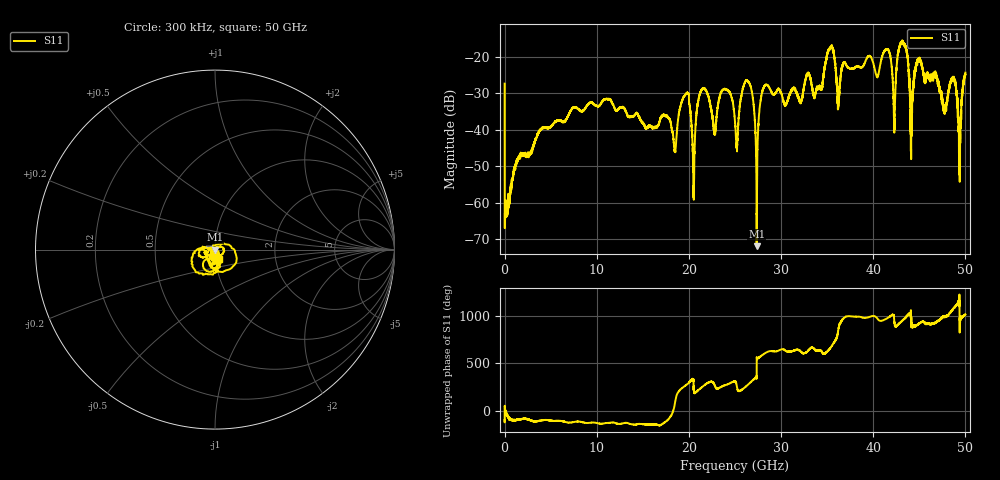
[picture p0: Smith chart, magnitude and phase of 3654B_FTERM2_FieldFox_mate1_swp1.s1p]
!Created with skrf (http://scikit-rf.org).
# Hz S RI R 50.0
!freq ReS11 ImS11
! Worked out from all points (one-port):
!   10001 points, 300 kHz to 50 GHz, reference 50 ohm
!   lowest |S11| = -72.0 dB at 27.35 GHz (marker M1), VSWR 1.00, Z = 50 - j0.00934 ohm
!   |S11| at or under -10 dB: start of sweep to end of sweep
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300000  -0.0059 -0.0425
2.552985e8  0.000629 -0.000454
1.560291e9  -0.000181 -0.00439
6.250262e9  -0.00425 -0.0124
1.250022e10  -0.0152 -0.0134
1.875019e10  -0.0115 -0.000429
1.975518e10  0.00291 -0.0318
2.053018e10  -0.000922 -0.000589
2.159017e10  -0.00502 -0.0365
2.500015e10  0.00768 -0.00996
2.640514e10  0.00322 -0.0461
2.735014e10  0.000234 -9.34e-05
2.820013e10  -0.0193 -0.0355
3.125011e10  -7.64e-05 -0.0361
3.427009e10  0.00397 -0.0388
3.536009e10  0.0699 -0.1149
3.620008e10  -0.0146 0.018
3.750008e10  0.00594 -0.0683
4.151005e10  -0.0369 -0.1221
4.227505e10  -0.00464 -0.0105
4.297504e10  -0.1278 -0.0819
4.375004e10  0.0308 -0.0933
4.415504e10  -0.0147 -0.00105
4.492003e10  -0.0913 -0.0228
4.774001e10  -0.00134 -0.0192
4.872001e10  0.0494 -0.00327
4.9355e10  -0.00113 0.00495
5e10  0.0244 -0.0556
